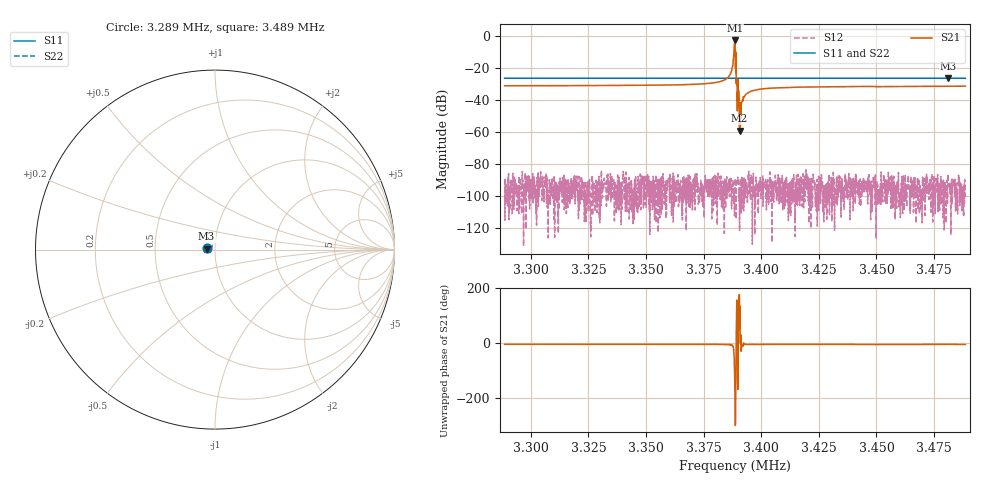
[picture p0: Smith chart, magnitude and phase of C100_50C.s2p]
# Hz S dB R 50.000
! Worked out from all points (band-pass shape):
!   6401 points, 3.289 MHz to 3.489 MHz, reference 50 ohm
!   highest |S21| = -2.95 dB at 3.389 MHz (marker M1); lowest = -59.2 dB at 3.391 MHz (marker M2)
!   |S21| within 3 dB of the highest: 3.388348 MHz to 3.388631 MHz (282.6 Hz wide, 0.00834 % of centre)
!   lowest |S11| = -26.5 dB at 3.481 MHz (marker M3), VSWR 1.10, Z = 45.5 + j0.446 ohm
!   |S11| at or under -10 dB: start of sweep to end of sweep
!   |S22| runs from -26.5 to -26.4 dB; largest |S21 - S12| = 0.71
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3288594  -26.46 172.4  -31.15 -4.2  -89.16 15.3  -26.40 166.9
3321938  -26.46 172.6  -31.04 -4.2  -91.33 45.8  -26.40 167.2
3355282  -26.46 172.9  -30.74 -4.4  -122.51 163.3  -26.42 167.5
3374063  -26.47 173.1  -30.00 -4.3  -92.05 -32.7  -26.42 167.7
3382344  -26.46 173.2  -28.51 -4.8  -90.36 51.1  -26.42 167.8
3386188  -26.46 173.2  -24.88 -5.0  -98.64 157.4  -26.43 167.8
3386813  -26.46 173.2  -23.21 -5.8  -93.45 -39.8  -26.43 167.8
3387344  -26.46 173.2  -20.26 -6.9  -94.97 111.4  -26.43 167.9
3387969  -26.47 173.2  -13.95 -18.8  -102.07 -144.2  -26.43 167.9
3388594  -26.46 173.2  -2.95 179.9  -90.84 -81.1  -26.43 167.6
3389313  -26.47 173.2  -30.38 122.4  -90.33 7.9  -26.43 167.8
3389813  -26.47 173.3  -29.83 -164.2  -88.50 82.3  -26.43 167.8
3390000  -26.46 173.3  -35.06 -2.7  -90.93 -6.3  -26.43 167.8
3390563  -26.47 173.2  -59.17 125.6  -121.19 109.2  -26.43 167.9
3391438  -26.47 173.2  -41.40 -14.8  -91.81 151.8  -26.43 167.9
3392219  -26.47 173.3  -38.17 -7.5  -90.89 -78.3  -26.43 167.9
3393156  -26.47 173.3  -36.76 -5.2  -92.20 -83.2  -26.43 167.9
3396969  -26.47 173.3  -34.00 -4.7  -95.78 112.9  -26.43 167.9
3421938  -26.47 173.5  -31.91 -4.5  -93.72 47.2  -26.44 168.2
3455282  -26.48 173.8  -31.62 -4.7  -91.41 122.3  -26.46 168.5
3481094  -26.49 174.1  -31.49 -4.3  -85.95 49.3  -26.47 168.7
3488594  -26.48 174.1  -31.41 -4.7  -99.29 -96.6  -26.47 168.8
